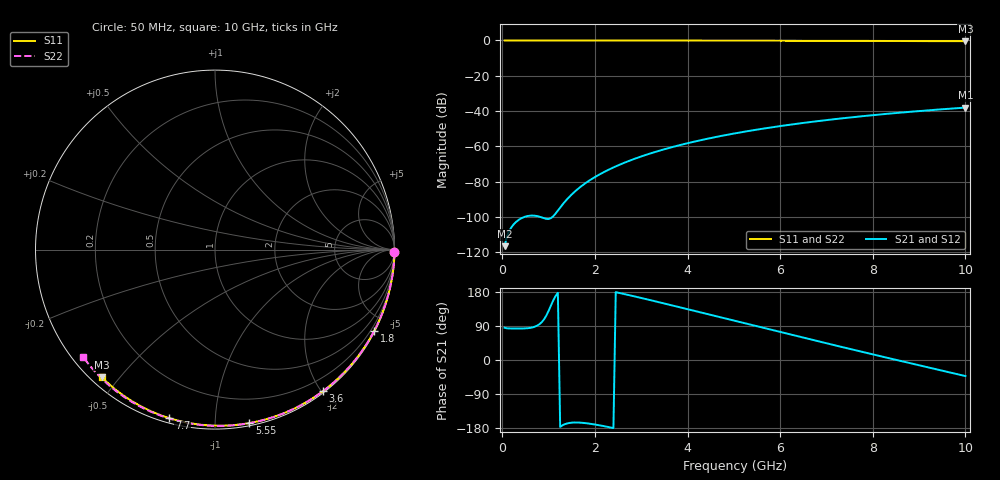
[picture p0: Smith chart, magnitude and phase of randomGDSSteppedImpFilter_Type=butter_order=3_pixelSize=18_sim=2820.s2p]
! freq	dB(S11)	phase(S11)	dB(S12)	phase(S12)
!  dB(S21)	phase(S21)	dB(S22)	phase(S22)
!S-par simulation data
#  GHz  S  DB  R 50
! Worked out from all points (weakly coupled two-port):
!   200 points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, 50 MHz to 10 GHz, reference 50 ohm
!   highest |S21| = -38.04 dB at 10 GHz (marker M1); lowest = -116.6 dB at 50 MHz (marker M2)
!   lowest |S11| = -0.4 dB at 10 GHz (marker M3), VSWR 39.24, Z = 1.53 - j22.4 ohm
!   |S11| at or under -10 dB: nowhere
!   |S22| runs from -0.5 to 0.0 dB; largest |S21 - S12| = 0
!   S11 on the Smith chart (normalised r, x): 50 MHz: open; 1.8 GHz: 0.04, -4.17; 3.6 GHz: 0.02, -2.02; 5.55 GHz: 0.02, -1.22; 7.7 GHz: 0.02, -0.76; 10 GHz: 0.03, -0.45
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0.05  -0.00 -0.8  -116.58 85.2  -116.58 85.2  -0.00 -0.8
0.45  -0.01 -6.8  -100.29 83.2  -100.29 83.2  -0.01 -7.3
0.9  -0.02 -13.6  -100.75 107.1  -100.75 107.1  -0.02 -14.6
1.75  -0.03 -26.2  -81.74 -166.0  -81.74 -166.0  -0.04 -28.1
1.8  -0.03 -27.0  -80.80 -166.7  -80.80 -166.7  -0.04 -28.9
1.85  -0.04 -27.7  -79.90 -167.4  -79.90 -167.4  -0.04 -29.7
2  -0.04 -29.9  -77.43 -170.2  -77.43 -170.2  -0.04 -32.0
2.15  -0.04 -32.1  -75.20 -173.5  -75.20 -173.5  -0.04 -34.4
2.35  -0.04 -35.0  -72.57 -178.4  -72.57 -178.4  -0.05 -37.5
2.55  -0.05 -37.9  -70.22 176.4  -70.22 176.4  -0.05 -40.6
2.95  -0.06 -43.6  -66.19 165.2  -66.19 165.2  -0.06 -46.7
3.4  -0.07 -50.0  -62.40 152.0  -62.40 152.0  -0.07 -53.4
3.6  -0.07 -52.7  -60.91 146.1  -60.91 146.1  -0.08 -56.4
4.3  -0.09 -62.3  -56.42 125.1  -56.42 125.1  -0.09 -66.6
5.05  -0.11 -72.3  -52.52 102.4  -52.52 102.4  -0.12 -77.2
5.55  -0.13 -78.8  -50.31 87.3  -50.31 87.3  -0.14 -84.1
6.1  -0.15 -85.8  -48.15 70.8  -48.15 70.8  -0.16 -91.5
6.7  -0.18 -93.2  -46.08 53.0  -46.08 53.0  -0.19 -99.4
7.7  -0.24 -105.2  -43.12 23.6  -43.12 23.6  -0.26 -112.2
8.35  -0.29 -112.8  -41.48 4.7  -41.48 4.7  -0.31 -120.4
9.2  -0.36 -122.6  -39.59 -19.6  -39.59 -19.6  -0.38 -130.9
10  -0.44 -131.7  -38.04 -42.4  -38.04 -42.4  -0.47 -140.7
